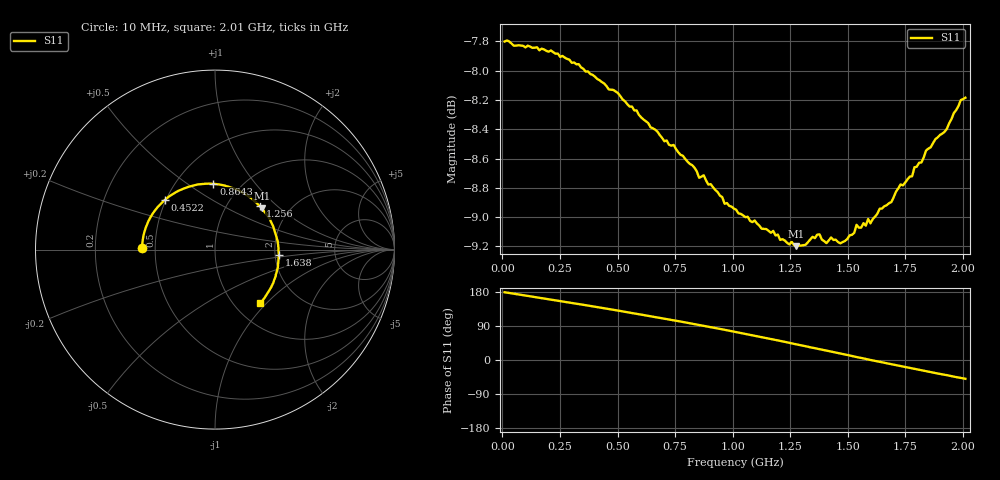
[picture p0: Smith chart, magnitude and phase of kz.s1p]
# MHz S MA R 50
!  freq  S11
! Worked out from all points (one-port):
!   200 points, 10 MHz to 2.01 GHz, reference 50 ohm
!   lowest |S11| = -9.2 dB at 1.276 GHz (marker M1), VSWR 2.06, Z = 73.4 + j38.2 ohm
!   |S11| at or under -10 dB: nowhere
!   S11 on the Smith chart (normalised r, x): 10 MHz: 0.42, +0.01; 452.2 MHz: 0.49, +0.32; 864.3 MHz: 0.75, +0.64; 1.256 GHz: 1.42, +0.78; 1.638 GHz: 2.10, -0.14; 2.01 GHz: 1.31, -0.92
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10  0.4073 178.8
150.7035  0.4055 165.4
261.2563  0.4028 154.5
331.608  0.4002 147.6
452.2111  0.3933 135.6
512.5126  0.3902 129.4
633.1156  0.3821 116.8
763.7688  0.3734 102.7
864.2714  0.3663 91.5
934.6231  0.3619 83.2
1015.025  0.3569 73.7
1095.427  0.3539 63.9
1155.729  0.351 56.7
1256.231  0.348 43.9
1266.281  0.3471 42.8
1276.332  0.3468 41.3
1376.834  0.3501 28.5
1467.286  0.3476 17.2
1517.538  0.3499 10.6
1537.638  0.3527 7.8
1597.94  0.3531 0.1
1638.141  0.3572 -4.7
1728.593  0.3641 -15.9
1768.794  0.3663 -21.1
1839.146  0.3739 -29.7
1879.347  0.3772 -34.5
1989.899  0.389 -47.1
2010  0.3897 -49.6
